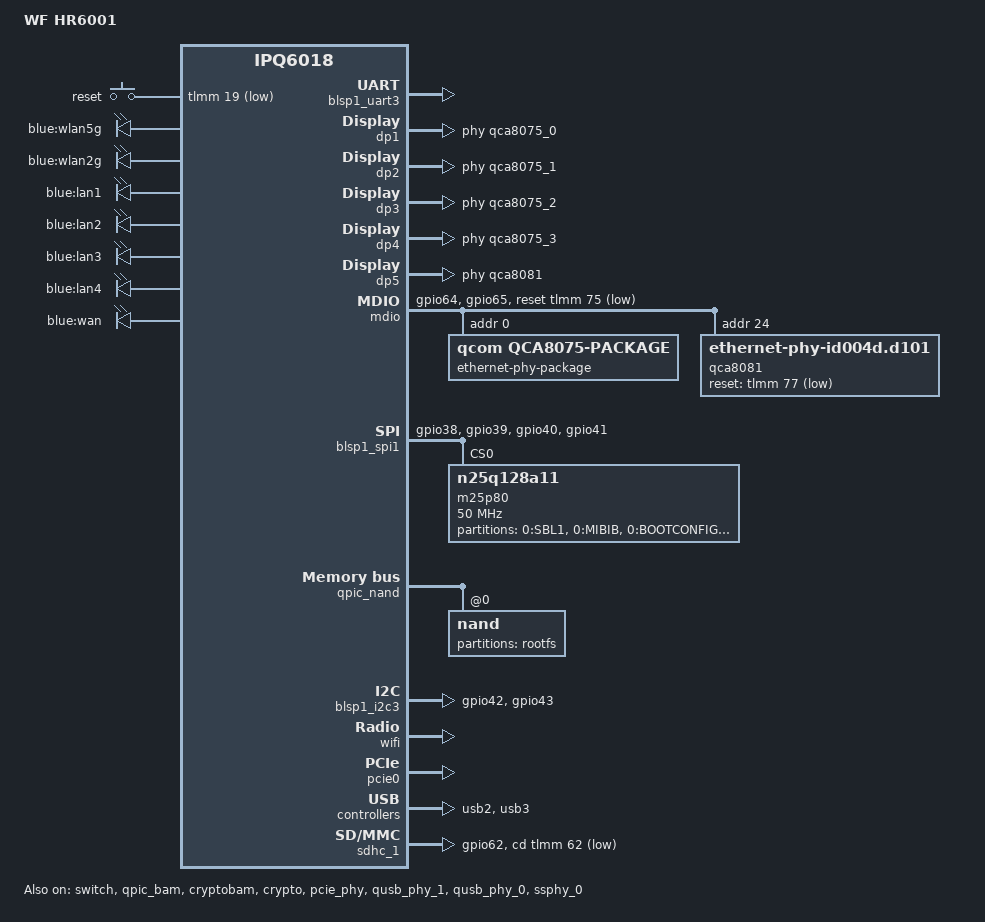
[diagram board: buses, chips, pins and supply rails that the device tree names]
// SPDX-License-Identifier: (GPL-2.0+ OR BSD-3-Clause)
/*
 * IPQ6018 CP01 board device tree source
 *
 * Copyright (c) 2019-2021 The Linux Foundation. All rights reserved.
 */

/dts-v1/;

#include "ipq6018.dtsi"
#include "ipq6018-cp-cpu.dtsi"
#include "ipq6018-ess.dtsi"
//#include "ipq6018-nss.dtsi"

#include <dt-bindings/gpio/gpio.h>
#include <dt-bindings/input/input.h>
#include <dt-bindings/leds/common.h>

/ {
	model = "WF HR6001";
	compatible = "wf,hr6001", "qcom,ipq6018";

	aliases {
		led-boot = &led_power;
		led-failsafe = &led_power;
		led-running = &led_power;
		led-upgrade = &led_power;
		serial0 = &blsp1_uart3;
		ethernet0 = &dp1;
		ethernet1 = &dp2;
		ethernet2 = &dp3;
		ethernet3 = &dp4;
		ethernet4 = &dp5;
	};
	
	chosen {
		stdout-path = "serial0:115200n8";
		bootargs-append = " root=/dev/ubiblock0_1 swiotlb=1 coherent_pool=2M";
	};
	
	keys {
		compatible = "gpio-keys";

		reset {
			label = "reset";
			gpios = <&tlmm 19 GPIO_ACTIVE_LOW>;
			linux,code = <KEY_RESTART>;
		};
	};

	leds {
		compatible = "gpio-leds";
		pinctrl-0 = <&leds_pins>;
		pinctrl-names = "default";

		wlan5g {
			label = "blue:wlan5g";
			gpio = <&tlmm 35 GPIO_ACTIVE_HIGH>;
		};

		led_power: wlan2g {
			label = "blue:wlan2g";
			gpio = <&tlmm 37 GPIO_ACTIVE_HIGH>;
		};


		lan1 {
			label = "blue:lan1";
			gpio = <&tlmm 51 GPIO_ACTIVE_HIGH>;
		};

		lan2 {
			label = "blue:lan2";
			gpio = <&tlmm 24 GPIO_ACTIVE_HIGH>;
		};

		lan3 {
			label = "blue:lan3";
			gpio = <&tlmm 53 GPIO_ACTIVE_HIGH>;
		};

		lan4 {
			label = "blue:lan4";
			gpio = <&tlmm 25 GPIO_ACTIVE_HIGH>;
		};

		wan {
			label = "blue:wan";
			gpio = <&tlmm 31 GPIO_ACTIVE_HIGH>;
		};
	};
};

&blsp1_uart3 {
	pinctrl-0 = <&serial_3_pins>;
	pinctrl-names = "default";
	status = "okay";
};

&tlmm {
	spi_1_pins: spi_1_pins {
		pins = "gpio38", "gpio39", "gpio40", "gpio41";
		function = "blsp0_spi";
		drive-strength = <8>;
		bias-pull-down;
	};

	sd_pins: sd-pinmux {
		pins = "gpio62";
		function = "sd_card";
		drive-strength = <8>;
		bias-pull-up;
	};

	i2c_1_pins: i2c_1_pins {
		mux {
			pins = "gpio42", "gpio43";
			function = "blsp2_i2c";
			drive-strength = <8>;
			bias-pull-down;
		};
	};

	mdio_pins: mdio-pins {
		mdc {
			pins = "gpio64";
			function = "mdc";
			drive-strength = <8>;
			bias-pull-up;
		};

		mdio {
			pins = "gpio65";
			function = "mdio";
			drive-strength = <8>;
			bias-pull-up;
		};
	};

	button_pins: button_pins {
		reset_button {
			pins = "gpio19";
			function = "gpio";
			drive-strength = <8>;
			bias-pull-up;
		};
	};
	
	sd_pwrseq: sd-pwrseq {
		compatible = "mmc-pwrseq-ipq";
		reset-gpios = <&tlmm 66 GPIO_ACTIVE_HIGH>;
	};
	
	leds_pins: leds_pins {
		mux {
			pins = "gpio24", "gpio25", "gpio31",
				"gpio33", "gpio34", "gpio35",
				"gpio37", "gpio51", "gpio53";
			function = "gpio";
			drive-strength = <8>;
			bias-pull-down;
		};
	};

	pcie0_pins: pcie_pins {
		pcie0_rst {
			pins = "gpio60";
			function = "pcie0_rst";
			drive-strength = <8>;
			bias-pull-down;
		};
	};
};

&dp1 {
	status = "okay";

	phy-handle = <&qca8075_0>;
	qcom,id = <1>;
	label = "lan1";
};

&dp2 {
	status = "okay";

	phy-handle = <&qca8075_1>;
	qcom,id = <2>;
	label = "lan2";
};

&dp3 {
	status = "okay";

	phy-handle = <&qca8075_2>;
	qcom,id = <3>;
	label = "lan3";
};

&dp4 {
	status = "okay";

	phy-handle = <&qca8075_3>;
	qcom,id = <4>;
	label = "lan4";
};

&dp5 {
	status = "okay";

	phy-handle = <&qca8081>;
	qcom,id = <5>;
	label = "wan";
};

&mdio {
	status = "okay";

	pinctrl-0 = <&mdio_pins>;
	pinctrl-names = "default";
	reset-gpios = <&tlmm 75 GPIO_ACTIVE_LOW>;

	ethernet-phy-package@0 {
		#address-cells = <1>;
		#size-cells = <0>;
		compatible = "qcom,qca8075-package";
		reg = <0>;

		qcom,package-mode = "psgmii";

		qca8075_0: ethernet-phy@0 {
			compatible = "ethernet-phy-ieee802.3-c22";
			reg = <0>;
		};

		qca8075_1: ethernet-phy@1 {
			compatible = "ethernet-phy-ieee802.3-c22";
			reg = <1>;
		};

		qca8075_2: ethernet-phy@2 {
			compatible = "ethernet-phy-ieee802.3-c22";
			reg = <2>;
		};

		qca8075_3: ethernet-phy@3 {
			compatible = "ethernet-phy-ieee802.3-c22";
			reg = <3>;
		};
	};

	qca8081: ethernet-phy@24 {
		compatible = "ethernet-phy-id004d.d101";
		reg = <24>;
		reset-gpios = <&tlmm 77 GPIO_ACTIVE_LOW>;
	};

};

&switch {
	status = "okay";

	switch_lan_bmp = <(ESS_PORT1|ESS_PORT2|ESS_PORT3|ESS_PORT4)>; /* lan port bitmap */
	switch_wan_bmp = <ESS_PORT5>; /* wan port bitmap */
	switch_mac_mode = <MAC_MODE_PSGMII>; /* mac mode for uniphy instance0*/
	switch_mac_mode1 = <MAC_MODE_SGMII_CHANNEL0>; /* mac mode for uniphy instance1*/
	switch_mac_mode2 = <MAC_MODE_DISABLED>; /* mac mode for uniphy instance2*/
	
	qcom,port_phyinfo {
		port@0 {
			port_id = <1>;
			phy_address = <0>;
		};
		port@1 {
			port_id = <2>;
			phy_address = <1>;
		};
		port@2 {
			port_id = <3>;
			phy_address = <2>;
		};
		port@3 {
			port_id = <4>;
			phy_address = <3>;
		};
		port@4 {
			port_id = <5>;
			phy_address = <24>;
			port_mac_sel = "QGMAC_PORT";
		};
	};
};

&edma {
	status = "okay";
};

&qpic_bam {
	status = "okay";
};

&blsp1_spi1 {
	pinctrl-0 = <&spi_1_pins>;
	pinctrl-names = "default";
	cs-select = <0>;
	status = "okay";

	m25p80@0 {
		#address-cells = <1>;
		#size-cells = <1>;
		reg = <0>;
		compatible = "n25q128a11";
		linux,modalias = "m25p80", "n25q128a11";
		spi-max-frequency = <50000000>;

		partitions {
			compatible = "fixed-partitions";

			partition@0 {
				label = "0:SBL1";
				reg = <0x0 0xc0000>;
			};

			partition@c0000 {
				label = "0:MIBIB";
				reg = <0xc0000 0x10000>;
			};

			partition@d0000 {
				label = "0:BOOTCONFIG";
				reg = <0xd0000 0x20000>;
			};

			partition@f0000 {
				label = "0:BOOTCONFIG1";
				reg = <0xf0000 0x20000>;
			};

			partition@110000 {
				label = "0:QSEE";
				reg = <0x110000 0x1a0000>;
			};

			partition@2b0000 {
				label = "0:QSEE_1";
				reg = <0x2b0000 0x1a0000>;
			};

			partition@450000 {
				label = "0:DEVCFG";
				reg = <0x450000 0x10000>;
			};

			partition@460000 {
				label = "0:DEVCFG_1";
				reg = <0x460000 0x10000>;
			};

			partition@470000 {
				label = "0:RPM";
				reg = <0x470000 0x40000>;
			};

			partition@4b0000 {
				label = "0:RPM_1";
				reg = <0x4b0000 0x40000>;
			};

			partition@4f0000 {
				label = "0:CDT";
				reg = <0x4f0000 0x10000>;
			};

			partition@500000 {
				label = "0:CDT_1";
				reg = <0x500000 0x10000>;
			};

			partition@510000 {
				label = "0:APPSBLENV";
				reg = <0x510000 0x10000>;
			};

			partition@520000 {
				label = "0:APPSBL";
				reg = <0x520000 0xa0000>;
			};

			partition@5c0000 {
				label = "0:APPSBL_1";
				reg = <0x5c0000 0xa0000>;
			};

			partition@660000 {
				label = "0:ART";
				reg = <0x660000 0x40000>;
			};

		};
	};
};

&qpic_nand {
	status = "okay";

	nand@0 {
		reg = <0>;
		#address-cells = <1>;
		#size-cells = <1>;

		nand-ecc-strength = <8>;
		nand-ecc-step-size = <512>;
		nand-bus-width = <8>;

		partition@0 {
			label = "rootfs";
			reg = <0x00000000 0x0f000000>;
		};

	};
};

&blsp1_i2c3 {
	status = "okay";
	pinctrl-0 = <&i2c_1_pins>;
	pinctrl-names = "default";
};

&wifi {
	status = "okay";
	qcom,ath11k-fw-memory-mode = <1>;
	qcom,ath11k-calibration-variant = "WF-HR6001";
};

&cryptobam {
	status = "okay";
};

&crypto {
	status = "okay";
};

&pcie_phy {
	status = "okay";
};

&pcie0 {
	status = "okay";
};

&qusb_phy_1 {
	status = "okay";
};

&usb2 {
	status = "okay";
};

&qusb_phy_0 {
	status = "okay";
};

&ssphy_0 {
	status = "okay";
};

&usb3 {
	status = "okay";
};

&sdhc_1 {
	status = "okay";
	
	pinctrl-0 = <&sd_pins>;
	pinctrl-names = "default";
	mmc-pwrseq = <&sd_pwrseq>;
	sd-ldo-gpios = <&tlmm 66 GPIO_ACTIVE_HIGH>;
	vqmmc-supply = <&ipq6018_l2>;
	cd-gpios = <&tlmm 62 GPIO_ACTIVE_LOW>;
};
